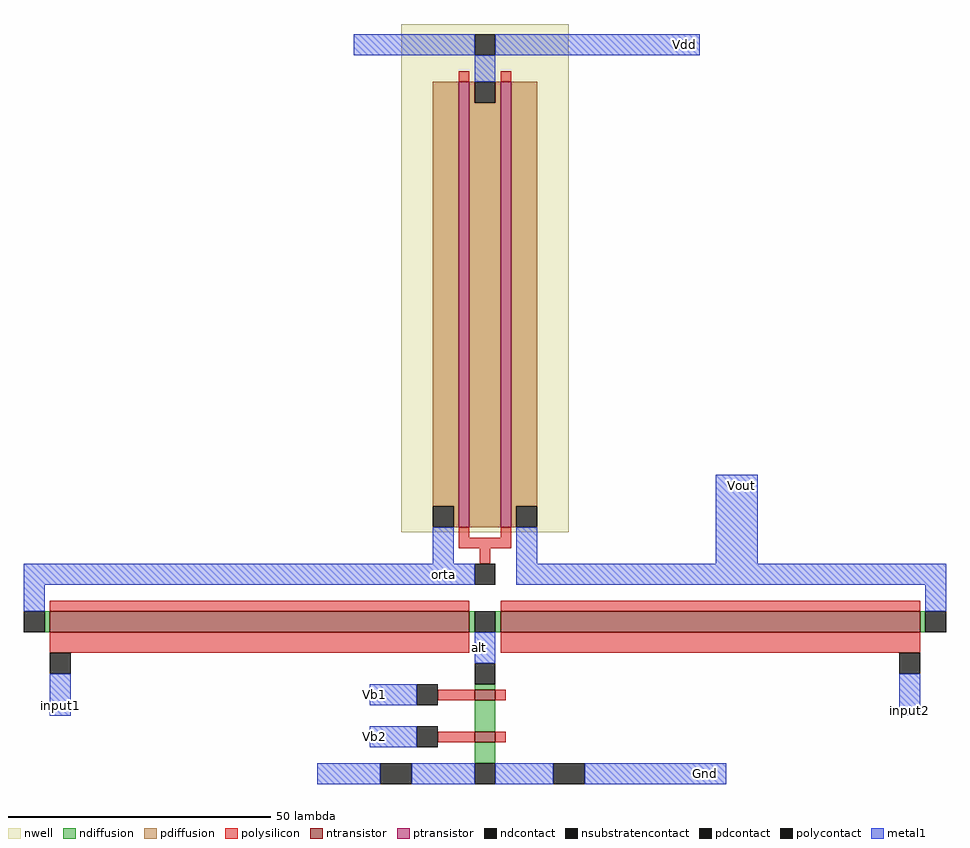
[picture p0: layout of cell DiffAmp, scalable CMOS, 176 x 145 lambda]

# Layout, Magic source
magic
tech scmos
<< nwell >>
rect 47 24 79 121
<< polysilicon >>
rect 58 110 60 112
rect 66 110 68 112
rect 58 23 60 25
rect 66 23 68 25
rect 58 21 68 23
rect 62 18 64 21
rect -20 9 60 11
rect 66 9 146 11
rect -20 1 60 5
rect 66 1 146 5
rect 54 -8 61 -6
rect 65 -8 67 -6
rect 54 -16 61 -14
rect 65 -16 67 -14
<< ndiffusion >>
rect -21 5 -20 9
rect 60 5 61 9
rect 65 5 66 9
rect 146 5 147 9
rect 61 -6 65 -5
rect 61 -14 65 -8
rect 61 -20 65 -16
<< pdiffusion >>
rect 53 29 58 110
rect 57 25 58 29
rect 60 106 61 110
rect 65 106 66 110
rect 60 25 66 106
rect 68 29 73 110
rect 68 25 69 29
<< metal1 >>
rect 38 115 61 119
rect 65 115 104 119
rect 61 110 65 115
rect 53 18 57 25
rect 69 18 73 25
rect 107 18 115 35
rect -25 14 61 18
rect 69 14 151 18
rect -25 9 -21 14
rect 147 9 151 14
rect -20 -11 -16 -3
rect 61 -1 65 5
rect 41 -9 50 -5
rect 142 -11 146 -3
rect 41 -17 50 -13
rect 31 -24 43 -20
rect 49 -24 61 -20
rect 65 -24 76 -20
rect 82 -24 109 -20
<< ntransistor >>
rect -20 5 60 9
rect 66 5 146 9
rect 61 -8 65 -6
rect 61 -16 65 -14
<< ptransistor >>
rect 58 25 60 110
rect 66 25 68 110
<< polycontact >>
rect 61 14 65 18
rect -20 -3 -16 1
rect 142 -3 146 1
rect 50 -9 54 -5
rect 50 -17 54 -13
<< ndcontact >>
rect -25 5 -21 9
rect 61 5 65 9
rect 147 5 151 9
rect 61 -5 65 -1
rect 61 -24 65 -20
<< pdcontact >>
rect 53 25 57 29
rect 61 106 65 110
rect 69 25 73 29
<< nsubstratencontact >>
rect 61 115 65 119
rect 43 -24 49 -20
rect 76 -24 82 -20
<< labels >>
rlabel metal1 62 2 62 2 1 alt
rlabel metal1 55 16 55 16 1 orta
rlabel metal1 112 33 112 33 7 Vout
rlabel metal1 42 -7 42 -7 1 Vb1
rlabel metal1 42 -15 42 -15 1 Vb2
rlabel metal1 101 117 101 117 5 Vdd
rlabel metal1 105 -22 105 -22 1 Gnd
rlabel metal1 -18 -9 -18 -9 1 input1
rlabel metal1 144 -10 144 -10 1 input2
<< end >>
